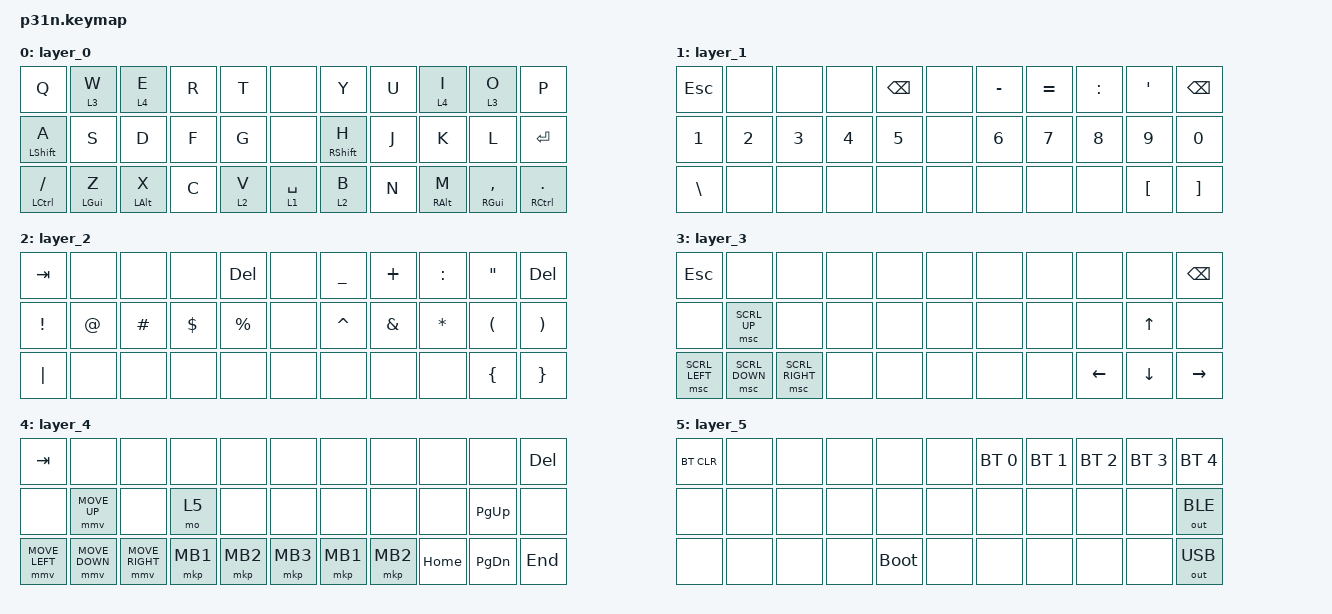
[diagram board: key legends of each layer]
#include <behaviors.dtsi>
#include <dt-bindings/zmk/keys.h>
#include <dt-bindings/zmk/bt.h>
#include <dt-bindings/zmk/outputs.h>
#include <dt-bindings/zmk/pointing.h> 

/ {
    keymap {
        compatible = "zmk,keymap";

        // Layer 0: 默认层 (Base Layer - 33 keys)
        layer_0 {
            bindings = <
&kp Q           &lt 3 W      &lt 4 E      &kp R        &kp T        &none          &kp Y          &kp U        &lt 4 I      &lt 3 O         &kp P
&mt LSHFT A     &kp S        &kp D        &kp F        &kp G        &none          &mt RSHFT H    &kp J        &kp K        &kp L           &kp RET
&mt LCTRL FSLH  &mt LGUI Z   &mt LALT X   &kp C        &lt 2 V      &lt 1 SPACE    &lt 2 B        &kp N        &mt RALT M   &mt RGUI COMMA  &mt RCTRL DOT
            >;
        };

        // Layer 1: 符号与数字层 1
        layer_1 {
            bindings = <
&kp ESC         &none        &none        &none        &kp BSPC     &none          &kp MINUS      &kp EQUAL    &kp COLON    &kp SQT         &kp BSPC
&kp N1          &kp N2       &kp N3       &kp N4       &kp N5       &none          &kp N6         &kp N7       &kp N8       &kp N9          &kp N0
&kp BSLH        &none        &none        &none        &none        &none          &none          &none        &none        &kp LBKT        &kp RBKT
            >;
        };

        // Layer 2: 符号与数字层 2
        layer_2 {
            bindings = <
&kp TAB         &none        &none        &none        &kp DEL      &none          &kp UNDER      &kp PLUS     &kp COLON    &kp DQT         &kp DEL
&kp EXCL        &kp AT       &kp HASH     &kp DLLR     &kp PRCNT    &none          &kp CARET      &kp AMPS     &kp STAR     &kp LPAR        &kp RPAR
&kp PIPE        &none        &none        &none        &none        &none          &none          &none        &none        &kp LBRC        &kp RBRC
            >;
        };

        // Layer 3: 方向键与功能层 
        layer_3 {
            bindings = <
&kp ESC         &none           &none                  &none        &none        &none          &none          &none        &none        &none           &kp BSPC
&none           &msc SCRL_UP    &none                  &none        &none        &none          &none          &none        &none        &kp UP          &none
&msc SCRL_LEFT  &msc SCRL_DOWN  &msc SCRL_RIGHT        &none        &none        &none          &none          &none        &kp LEFT     &kp DOWN        &kp RIGHT
            >;
        };

        // Layer 4: 鼠标移动与按键层 (使用官方最新 MB1/MB2/MB3 宏)
        layer_4 {
            bindings = <
&kp TAB         &none           &none                  &none        &none        &none          &none          &none        &none        &none           &kp DEL
&none           &mmv MOVE_UP    &none                  &mo 5        &none        &none          &none          &none        &none        &kp PG_UP       &none
&mmv MOVE_LEFT  &mmv MOVE_DOWN  &mmv MOVE_RIGHT        &mkp MB1     &mkp MB2     &mkp MB3       &mkp MB1       &mkp MB2     &kp HOME     &kp PG_DN       &kp END
            >;
        };

        // Layer 5: 蓝牙与系统设置层
        layer_5 {
            bindings = <
&bt BT_CLR      &none        &none        &none        &none        &none          &bt BT_SEL 0   &bt BT_SEL 1 &bt BT_SEL 2 &bt BT_SEL 3    &bt BT_SEL 4
&none           &none        &none        &none        &none        &none          &none          &none        &none        &none           &out OUT_BLE
&none           &none        &none        &none        &bootloader  &none          &none          &none        &none        &none           &out OUT_USB
            >;
        };
    };
};
